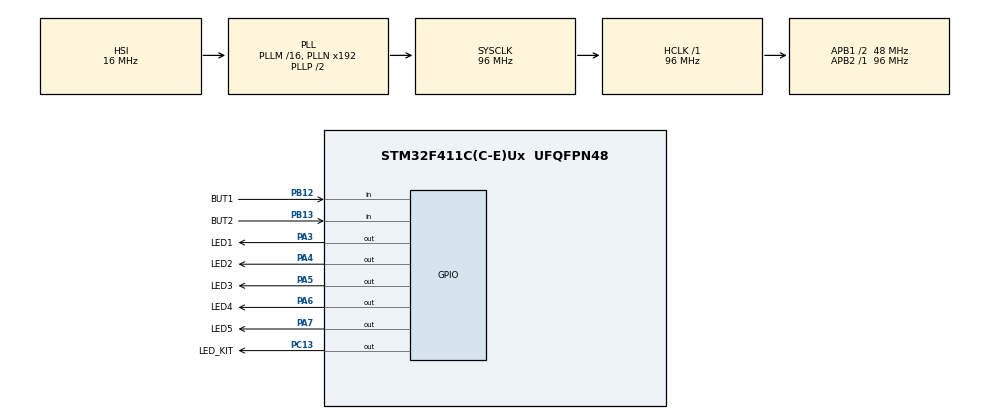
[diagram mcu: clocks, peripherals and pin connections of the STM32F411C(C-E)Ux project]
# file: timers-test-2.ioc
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Mcu.Family=STM32F4
Mcu.Name=STM32F411C(C-E)Ux
Mcu.Package=UFQFPN48
NVIC.PriorityGroup=NVIC_PRIORITYGROUP_4
NVIC.TIM4_IRQn=true\:0\:0\:false\:false\:true\:true\:true\:true
PA13.Signal=SYS_JTMS-SWDIO
PA14.Signal=SYS_JTCK-SWCLK
PA3.GPIO_Label=LED1
PA3.Signal=GPIO_Output
PA4.GPIO_Label=LED2
PA4.Signal=GPIO_Output
PA5.GPIO_Label=LED3
PA5.Signal=GPIO_Output
PA6.GPIO_Label=LED4
PA6.Signal=GPIO_Output
PA7.GPIO_Label=LED5
PA7.Signal=GPIO_Output
PB12.GPIO_Label=BUT1
PB12.Signal=GPIO_Input
PB13.GPIO_Label=BUT2
PB13.Signal=GPIO_Input
PC13-ANTI_TAMP.GPIO_Label=LED_KIT
PC13-ANTI_TAMP.Signal=GPIO_Output
PC14-OSC32_IN.Signal=RCC_OSC32_IN
PC15-OSC32_OUT.Signal=RCC_OSC32_OUT
PH0\ -\ OSC_IN.Signal=RCC_OSC_IN
PH1\ -\ OSC_OUT.Signal=RCC_OSC_OUT
ProjectManager.HeapSize=0x200
ProjectManager.StackSize=0x400
ProjectManager.TargetToolchain=CMake
RCC.48MHZClocksFreq_Value=48000000
RCC.AHBFreq_Value=96000000
RCC.APB1CLKDivider=RCC_HCLK_DIV2
RCC.APB1Freq_Value=48000000
RCC.APB1TimFreq_Value=96000000
RCC.APB2Freq_Value=96000000
RCC.APB2TimFreq_Value=96000000
RCC.CortexFreq_Value=96000000
RCC.HCLKFreq_Value=96000000
RCC.HSE_VALUE=25000000
RCC.HSI_VALUE=16000000
RCC.LSE_VALUE=32768
RCC.SYSCLKFreq_VALUE=96000000
RCC.SYSCLKSource=RCC_SYSCLKSOURCE_PLLCLK
RCC.VCOOutputFreq_Value=192000000
TIM4.AutoReloadPreload=TIM_AUTORELOAD_PRELOAD_DISABLE
TIM4.Period=1030
TIM4.Prescaler=9600-1
VP_TIM4_VS_ClockSourceINT.Mode=Internal
board=custom

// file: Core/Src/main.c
/* USER CODE BEGIN Header */
/**
  ******************************************************************************
  * @file           : main.c
  * @brief          : Main program body
  ******************************************************************************
  * @attention
  *
  * Copyright (c) 2025 STMicroelectronics.
  * All rights reserved.
  *
  * This software is licensed under terms that can be found in the LICENSE file
  * in the root directory of this software component.
  * If no LICENSE file comes with this software, it is provided AS-IS.
  *
  ******************************************************************************
  */
/* USER CODE END Header */
#include "main.h"

/* USER CODE BEGIN Includes */
#include "button.h"
#include "stdio.h"
/* USER CODE END Includes */

TIM_HandleTypeDef htim4;

/* USER CODE BEGIN PV */
uint32_t i;
volatile uint8_t leds = 5;
volatile uint16_t addCounter = 1030;
/* USER CODE END PV */

void SystemClock_Config(void);
static void MX_GPIO_Init(void);
static void MX_TIM4_Init(void);

int main(void)
{

  /* MCU Configuration--------------------------------------------------------*/

  /* Reset of all peripherals, Initializes the Flash interface and the Systick. */
  HAL_Init();

  /* Configure the system clock */
  SystemClock_Config();

  /* Initialize all configured peripherals */
  MX_GPIO_Init();
  MX_TIM4_Init();
  /* USER CODE BEGIN 2 */
  HAL_TIM_Base_Start_IT (&htim4);
  /* USER CODE END 2 */

  /* Infinite loop */
  while (1)
  {

    /* USER CODE BEGIN 3 */
	  //printf("%i", addCounter);
	  //HAL_Delay(1000);
	  	  if (button_release(GPIOB, GPIO_PIN_12, 1) && (addCounter <= 65535 - 1030))
	  	    {
	  		  addCounter = addCounter + 1030;
          MX_TIM4_Init();
	  		  //TIM4->ARR = addCounter;
	  		  //TIM4->EGR = TIM_EGR_UG;
	  	    } else if (button_release(GPIOB, GPIO_PIN_13, 1) && (addCounter > 1030)){
	  	    	addCounter = addCounter - 1030;
            MX_TIM4_Init();
	  	    	//TIM4->ARR = addCounter;
	  	    	//TIM4->EGR = TIM_EGR_UG;
	  	    }

	  	    HAL_Delay(200);
	  	    //TIM4->ARR = addCounter;
	  	    // pisca o led da placa
	  	    HAL_GPIO_TogglePin(LED_KIT_GPIO_Port, LED_KIT_Pin);
  }
  /* USER CODE END 3 */
}

void SystemClock_Config(void)
{
  RCC_OscInitTypeDef RCC_OscInitStruct = {0};
  RCC_ClkInitTypeDef RCC_ClkInitStruct = {0};

  /** Configure the main internal regulator output voltage
  */
  __HAL_RCC_PWR_CLK_ENABLE();
  __HAL_PWR_VOLTAGESCALING_CONFIG(PWR_REGULATOR_VOLTAGE_SCALE1);

  /** Initializes the RCC Oscillators according to the specified parameters
  * in the RCC_OscInitTypeDef structure.
  */
  RCC_OscInitStruct.OscillatorType = RCC_OSCILLATORTYPE_HSI;
  RCC_OscInitStruct.HSIState = RCC_HSI_ON;
  RCC_OscInitStruct.HSICalibrationValue = RCC_HSICALIBRATION_DEFAULT;
  RCC_OscInitStruct.PLL.PLLState = RCC_PLL_ON;
  RCC_OscInitStruct.PLL.PLLSource = RCC_PLLSOURCE_HSI;
  RCC_OscInitStruct.PLL.PLLM = 16;
  RCC_OscInitStruct.PLL.PLLN = 192;
  RCC_OscInitStruct.PLL.PLLP = RCC_PLLP_DIV2;
  RCC_OscInitStruct.PLL.PLLQ = 4;
  if (HAL_RCC_OscConfig(&RCC_OscInitStruct) != HAL_OK)
  {
    Error_Handler();
  }

  /** Initializes the CPU, AHB and APB buses clocks
  */
  RCC_ClkInitStruct.ClockType = RCC_CLOCKTYPE_HCLK|RCC_CLOCKTYPE_SYSCLK
                              |RCC_CLOCKTYPE_PCLK1|RCC_CLOCKTYPE_PCLK2;
  RCC_ClkInitStruct.SYSCLKSource = RCC_SYSCLKSOURCE_PLLCLK;
  RCC_ClkInitStruct.AHBCLKDivider = RCC_SYSCLK_DIV1;
  RCC_ClkInitStruct.APB1CLKDivider = RCC_HCLK_DIV2;
  RCC_ClkInitStruct.APB2CLKDivider = RCC_HCLK_DIV1;

  if (HAL_RCC_ClockConfig(&RCC_ClkInitStruct, FLASH_LATENCY_3) != HAL_OK)
  {
    Error_Handler();
  }
}

static void MX_TIM4_Init(void)
{

  /* USER CODE BEGIN TIM7_Init 0 */

  /* USER CODE END TIM4_Init 0 */

  TIM_ClockConfigTypeDef sClockSourceConfig = {0};
  TIM_MasterConfigTypeDef sMasterConfig = {0};

  htim4.Instance = TIM4;
  htim4.Init.Prescaler = 9600-1;
  htim4.Init.CounterMode = TIM_COUNTERMODE_UP;
  htim4.Init.Period = addCounter;
  htim4.Init.ClockDivision = TIM_CLOCKDIVISION_DIV1;
  htim4.Init.AutoReloadPreload = TIM_AUTORELOAD_PRELOAD_DISABLE;
  if (HAL_TIM_Base_Init(&htim4) != HAL_OK)
  {
    Error_Handler();
  }
  sClockSourceConfig.ClockSource = TIM_CLOCKSOURCE_INTERNAL;
  if (HAL_TIM_ConfigClockSource(&htim4, &sClockSourceConfig) != HAL_OK)
  {
    Error_Handler();
  }
  sMasterConfig.MasterOutputTrigger = TIM_TRGO_RESET;
  sMasterConfig.MasterSlaveMode = TIM_MASTERSLAVEMODE_DISABLE;
  if (HAL_TIMEx_MasterConfigSynchronization(&htim4, &sMasterConfig) != HAL_OK)
  {
    Error_Handler();
  }
  /* USER CODE BEGIN TIM4_Init 2 */
  //volatile tim4.Init.Period = 1030;
  /* USER CODE END TIM4_Init 2 */

}

static void MX_GPIO_Init(void)
{
  GPIO_InitTypeDef GPIO_InitStruct = {0};

  /* GPIO Ports Clock Enable */
  __HAL_RCC_GPIOC_CLK_ENABLE();
  __HAL_RCC_GPIOH_CLK_ENABLE();
  __HAL_RCC_GPIOA_CLK_ENABLE();
  __HAL_RCC_GPIOB_CLK_ENABLE();

  /*Configure GPIO pin Output Level */
  HAL_GPIO_WritePin(LED_KIT_GPIO_Port, LED_KIT_Pin, GPIO_PIN_RESET);

  /*Configure GPIO pin Output Level */
  HAL_GPIO_WritePin(GPIOA, LED1_Pin|LED2_Pin|LED3_Pin|LED4_Pin
                          |LED5_Pin, GPIO_PIN_RESET);

  /*Configure GPIO pin : LED_KIT_Pin */
  GPIO_InitStruct.Pin = LED_KIT_Pin;
  GPIO_InitStruct.Mode = GPIO_MODE_OUTPUT_PP;
  GPIO_InitStruct.Pull = GPIO_NOPULL;
  GPIO_InitStruct.Speed = GPIO_SPEED_FREQ_LOW;
  HAL_GPIO_Init(LED_KIT_GPIO_Port, &GPIO_InitStruct);

  /*Configure GPIO pins : LED1_Pin LED2_Pin LED3_Pin LED4_Pin
                           LED5_Pin */
  GPIO_InitStruct.Pin = LED1_Pin|LED2_Pin|LED3_Pin|LED4_Pin
                          |LED5_Pin;
  GPIO_InitStruct.Mode = GPIO_MODE_OUTPUT_PP;
  GPIO_InitStruct.Pull = GPIO_NOPULL;
  GPIO_InitStruct.Speed = GPIO_SPEED_FREQ_LOW;
  HAL_GPIO_Init(GPIOA, &GPIO_InitStruct);

  /*Configure GPIO pins : BUT1_Pin BUT2_Pin */
  GPIO_InitStruct.Pin = BUT1_Pin|BUT2_Pin;
  GPIO_InitStruct.Mode = GPIO_MODE_INPUT;
  GPIO_InitStruct.Pull = GPIO_NOPULL;
  HAL_GPIO_Init(GPIOB, &GPIO_InitStruct);

}

/* USER CODE BEGIN 4 */

void HAL_TIM_PeriodElapsedCallback (TIM_HandleTypeDef * htim){
	if(htim==&htim4)
  {
  //HAL_GPIO_TogglePin(GPIOA,3);
    leds = (leds - 1) & 0x1F;
    HAL_GPIO_WritePin(GPIOA, (~leds)<<3, GPIO_PIN_RESET);
    HAL_GPIO_WritePin(GPIOA, leds<<3, GPIO_PIN_SET);
    //Teste de led
    //HAL_GPIO_WritePin(GPIOA,4,1);
  }

 }
/* USER CODE END 4 */

void Error_Handler(void)
{
  __disable_irq();
  while (1)
  {
  }
}
